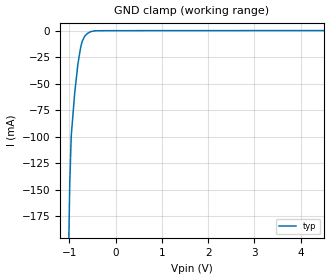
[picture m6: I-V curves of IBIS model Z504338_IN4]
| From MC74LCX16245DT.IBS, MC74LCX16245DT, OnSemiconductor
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| (C) COPYRIGHT 1993-2000
| MENTOR GRAPHICS CORPORATION
| ICX STANDARD LIBRARY, ICX PROJECT MODELING,
| ICX CUSTOM MODELING, ICX VENDOR MODEL
| ALL RIGHTS RESERVED.
| THE FOLLOWING ARE TRADEMARKS OR SERVICE MARKS OF
| MENTOR GRAPHICS CORPORATION:ICX (R), ICX STANDARD
| LIBRARY(R), ICX PROJECT MODELING(R), ICX CUSTOM
| MODELING(R), qualityIBIS(TM), MODELVIEWER(TM),
| AND MODELEDITOR(TM)
| ALL COPIES OF SOFTWARE, INCLUDING BUT NOT LIMITED TO
| ANY MODIFICATIONS, ENHANCEMENTS OR DERIVATIVE WORKS,
| MUST CONTAIN ALL MENTOR GRAPHICS CORPORATION'S
| NOTICES AND LEGENDS, INCLUDING THOSE EMBEDDED IN
| SOFTWARE AND THOSE AFFIXED TO SOFTWARE MEDIUM
| AND CONTAINER, AS RECEIVED FROM MENTOR GRAPHICS
| CORPORATION.
| Model Application Version 1.89 2/18/99.
[Model] Z504338_IN4
Model_type Input
Vinl = 800.0mV
Vinh = 2.000V
C_comp 4.000pF NA NA
| variable typ   min   max
[Voltage Range] 3.300V NA NA
[GND Clamp Reference] 0.000V NA NA
[POWER Clamp Reference] 3.300V NA NA
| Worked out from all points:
|   GND clamp passes 1 mA (typ) near -0.55 V on its own axis
[GND Clamp]
-3.3V     -6.237A    NA         NA
-992.7mV  -145.1mA   NA         NA
-961mV    -99.77mA   NA         NA
-886.3mV  -59.12mA   NA         NA
-815.4mV  -31.11mA   NA         NA
-754.9mV  -15.2mA    NA         NA
-722.4mV  -9.781mA   NA         NA
-664mV    -4.72mA    NA         NA
-550.6mV  -996.1uA   NA         NA
-429.7mV  78.66uA    NA         NA
-214.8mV  171.6uA    NA         NA
6.6V      270uA      NA         NA
[POWER Clamp]
-3.3V     0A         NA         NA
6.6V      0A         NA         NA
